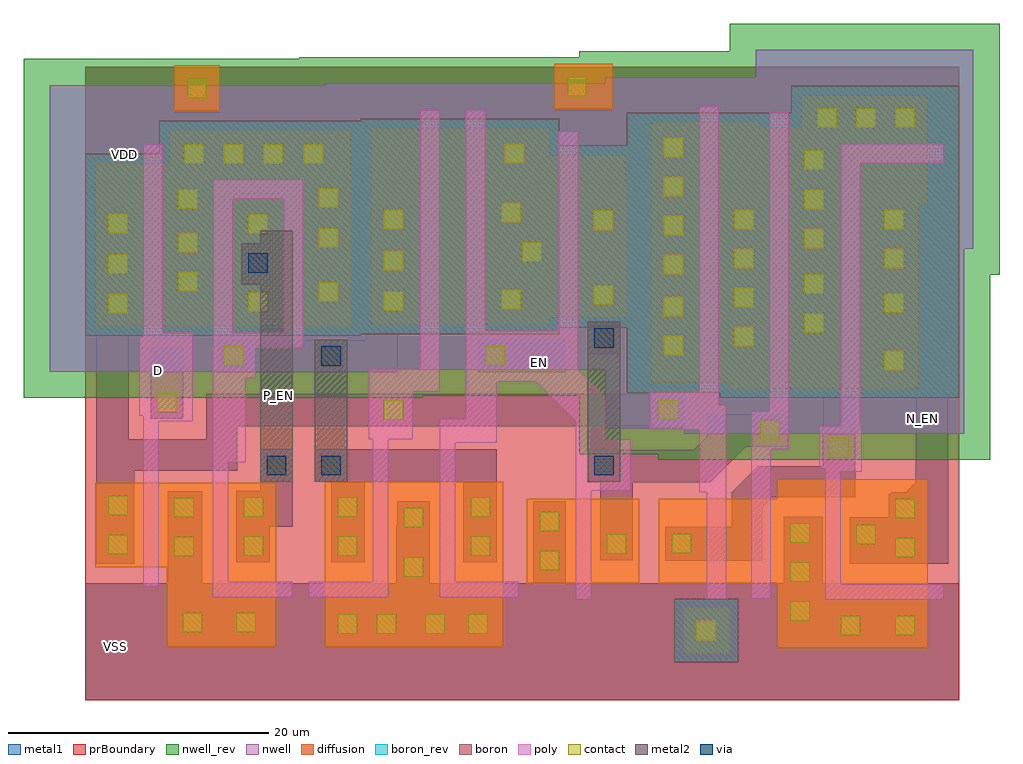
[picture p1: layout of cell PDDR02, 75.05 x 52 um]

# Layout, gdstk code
import gdstk
lib = gdstk.Library(unit=1e-6, precision=1e-09)
def R(c, l, rs):  # rectangles x0, y0, x1, y1
    for r in rs: c.add(gdstk.rectangle(r[:2], r[2:], *l))
def A(c, l, x, y, w, h, nx, ny, dx, dy):  # array of equal rectangles
    R(c, l, [(x+i*dx, y+j*dy, x+i*dx+w, y+j*dy+h) for i in range(nx) for j in range(ny)])
def P(c, l, *ps):  # polygons
    for p in ps: c.add(gdstk.Polygon(p, *l))
nwell = (1, 0)
diffusion = (2, 0)
nwell_rev = (3, 0)
poly = (4, 0)
boron = (5, 0)
boron_rev = (6, 0)
contact = (7, 0)
metal1 = (8, 0)
via = (9, 0)
metal2 = (10, 0)
prBoundary = (28, 0)

pddr02 = lib.new_cell('PDDR02')
P(pddr02, nwell, [(46.05,20.5),(46.05,20.9),(40,20.9),(40,25.4),(23.95,25.4),(23.95,25.25),(-2.75,25.25),(-2.75,47.3),(18.45,47.3),(18.45,47.45),(40,47.45),(40,47.9),(51.55,47.9),(51.55,50),(68.3,50),(68.3,34.7),(67.6,34.7),(67.6,20.5)])
R(pddr02, diffusion, [(46,3.6,49.5,7.1), (18.4,4.1,32.15,16.8), (33.95,9,42.6,15.5), (6.85,45.3,10.35,48.8), (36.05,45.45,40.55,48.95)])
P(pddr02, diffusion, [(6.25,4.1),(6.25,10.2),(0.75,10.2),(0.75,16.7),(14.7,16.7),(14.7,4.1)],
  [(53.2,4),(53.2,9),(44.1,9),(44.1,15.5),(53.2,15.5),(53.2,17),(64.8,17),(64.8,4)],
  [(21.95,28.9),(21.95,43.95),(35.7,43.95),(35.7,41.9),(41.6,41.9),(41.6,29.4),(35.7,29.4),(35.7,28.9)],
  [(0.75,28.75),(0.75,41.25),(6.45,41.25),(6.45,43.8),(20.45,43.8),(20.45,28.75)],
  [(49.55,24),(49.55,24.4),(43.5,24.4),(43.5,44.4),(51.9,44.4),(51.9,44),(55.05,44),(55.05,46.5),(64.8,46.5),(64.8,38.2),(64.1,38.2),(64.1,24)])
P(pddr02, nwell_rev, [(44.05,18.5),(44.05,18.9),(38,18.9),(38,23.4),(25.95,23.4),(25.95,23.25),(-4.75,23.25),(-4.75,49.3),(16.45,49.3),(16.45,49.45),(38,49.45),(38,49.9),(49.55,49.9),(49.55,52),(70.3,52),(70.3,32.7),(69.6,32.7),(69.6,18.5)])
P(pddr02, poly, [(51.2,7.8),(51.2,22.2),(52.6,22.2),(52.6,45.2),(54.1,45.2),(54.1,19.3),(52.7,19.3),(52.7,7.8)],
  [(4.45,8.7),(4.45,21.85),(4.15,21.85),(4.15,27.95),(4.45,27.95),(4.45,42.75),(5.95,42.75),(5.95,28.25),(8.25,28.25),(8.25,21.45),(5.65,21.45),(5.65,8.7)],
  [(9.8,7.9),(9.8,27),(9.85,27),(9.85,40.05),(15.25,40.05),(15.25,38.55),(11.35,38.55),(11.35,28.25),(15.25,28.25),(15.25,40.05),(16.75,40.05),(16.75,27.05),(13.1,27.05),(13.1,24.75),(12.35,24.75),(12.35,18.3),(11,18.3),(11,9.1),(15.9,9.1),(15.9,7.9)],
  [(17.2,7.9),(17.2,9.1),(22.1,9.1),(22.1,20.05),(21.8,20.05),(21.8,25.5),(25.75,25.5),(25.75,45.35),(27.25,45.35),(27.25,23.7),(25.2,23.7),(25.2,20.05),(23.3,20.05),(23.3,7.9)],
  [(37.7,7.7),(37.7,21.451),(34.651,24.5),(31.65,24.5),(31.65,19.8),(28.45,19.8),(28.45,9.1),(33.35,9.1),(33.35,7.9),(27.25,7.9),(27.25,21.65),(29.25,21.65),(29.25,45.4),(30.75,45.4),(30.75,28.4),(36.4,28.4),(36.4,43.75),(37.9,43.75),(37.9,25.45),(40,23.35),(40,20.05),(41.95,20.05),(41.95,16.1),(38.9,16.1),(38.9,7.7)],
  [(47.8,7.8),(47.8,16),(47.2,16),(47.2,20.8),(43.4,20.8),(43.4,23.75),(47.2,23.75),(47.2,45.65),(48.7,45.65),(48.7,22.7),(49.3,22.7),(49.3,7.8)],
  [(56.9,7.7),(56.9,17.8),(56.45,17.8),(56.45,21.05),(58.1,21.05),(58.1,42.8),(66,42.8),(66,41.3),(59.6,41.3),(59.6,21.05),(59.7,21.05),(59.7,17.55),(58.1,17.55),(58.1,8.9),(66,8.9),(66,7.7)])
R(pddr02, boron, [(45.3,2.9,50.2,7.8)])
P(pddr02, boron, [(48.8,23.25),(48.8,23.65),(41.65,23.65),(41.65,28.65),(36.45,28.65),(36.45,28.15),(21.2,28.15),(21.2,28),(0,28),(0,42),(5.7,42),(5.7,44.55),(21.2,44.55),(21.2,44.7),(36.45,44.7),(36.45,42.65),(41.65,42.65),(41.65,45.15),(54.3,45.15),(54.3,47.25),(67.2,47.25),(67.2,23.25)])
R(pddr02, boron_rev, [(45.3,2.9,50.2,7.8)])
P(pddr02, boron_rev, [(48.8,23.25),(48.8,23.65),(41.65,23.65),(41.65,28.65),(36.45,28.65),(36.45,28.15),(21.2,28.15),(21.2,28),(0,28),(0,42),(5.7,42),(5.7,44.55),(21.2,44.55),(21.2,44.7),(36.45,44.7),(36.45,42.65),(41.65,42.65),(41.65,45.15),(54.3,45.15),(54.3,47.25),(67.2,47.25),(67.2,23.25)])
A(pddr02, contact, 54.2, 6.1, 1.5, 1.5, 1, 3, 0, 3)
A(pddr02, contact, 49.9, 27.2, 1.5, 1.5, 1, 4, 0, 3)
A(pddr02, contact, 44.5, 32.75, 1.5, 1.5, 1, 4, 0, 3)
A(pddr02, contact, 7.6, 41.25, 1.5, 1.5, 3, 1, 3.05, 0)
A(pddr02, contact, 56.3, 44, 1.5, 1.5, 3, 1, 3, 0)
R(pddr02, contact, [(47,4.6,48.5,6.1), (58.1,5,59.6,6.5), (62.3,5,63.8,6.5), (19.4,5.1,20.9,6.6), (22.4,5.1,23.9,6.6), (26.15,5.1,27.65,6.6), (29.45,5.1,30.95,6.6), (7.5,5.2,9,6.7), (11.6,5.2,13.1,6.7), (24.5,9.5,26,11), (34.95,10,36.45,11.5), (62.3,11,63.8,12.5), (6.85,11.05,8.35,12.55), (12.2,11.1,13.7,12.6), (19.4,11.1,20.9,12.6), (29.65,11.1,31.15,12.6), (1.75,11.2,3.25,12.7), (40.1,11.25,41.6,12.75), (45.1,11.3,46.6,12.8), (59.3,12,60.8,13.5), (34.95,13,36.45,14.5), (24.5,13.3,26,14.8), (62.3,14,63.8,15.5), (6.85,14.05,8.35,15.55), (12.2,14.1,13.7,15.6), (19.4,14.1,20.9,15.6), (29.65,14.1,31.15,15.6), (1.75,14.2,3.25,15.7), (57.2,18.65,58.7,20.15), (51.9,20,53.4,21.5), (22.95,21.55,24.45,23.05), (44.1,21.55,45.6,23.05), (5.55,22.15,7.05,23.65), (61.45,25.35,62.95,26.85), (10.65,25.7,12.15,27.2), (30.75,25.7,32.25,27.2), (44.5,26.5,46,28), (55.3,28.25,56.8,29.75), (44.5,29.5,46,31), (1.75,29.75,3.25,31.25), (61.45,29.8,62.95,31.3), (12.55,29.85,14.05,31.35), (22.95,29.95,24.45,31.45), (32,30.05,33.5,31.55), (39.1,30.4,40.6,31.9), (17.95,30.65,19.45,32.15), (55.3,31.25,56.8,32.75), (7.15,31.45,8.65,32.95), (1.75,32.8,3.25,34.3), (22.95,33.05,24.45,34.55), (61.45,33.2,62.95,34.7), (33.6,33.7,35.1,35.2), (7.15,34.45,8.65,35.95), (55.3,34.75,56.8,36.25), (17.95,34.8,19.45,36.3), (12.55,35.85,14.05,37.35), (1.75,35.9,3.25,37.4), (39.1,36.15,40.6,37.65), (22.95,36.2,24.45,37.7), (61.45,36.2,62.95,37.7), (32,36.75,33.5,38.25), (55.3,37.75,56.8,39.25), (7.15,37.8,8.65,39.3), (17.95,37.85,19.45,39.35), (55.3,40.8,56.8,42.3), (16.8,41.25,18.3,42.75), (32.25,41.3,33.75,42.8), (7.85,46.3,9.35,47.8), (37.05,46.45,38.55,47.95)])
R(pddr02, metal1, [(0,0,67.2,9), (13.45,13.35,15.95,19.3), (63.85,21,66.35,23.5), (5.05,21.65,7.55,27.15), (60.95,24.85,63.45,27.35), (30.25,25.2,36.95,27.7), (11.55,29.3,15.55,37.95), (0,39.7,67.2,48.7), (7.05,45.5,10.15,48.6)])
P(pddr02, metal1, [(58.8,10.5),(58.8,14.05),(61.8,14.05),(61.8,15.8),(62,16),(63.1,16),(63.85,16.75),(63.85,24.85),(60.95,24.85),(60.95,38.2),(63.6,38.2),(63.6,28.2),(66.35,28.2),(66.35,10.5)],
  [(11.6,10.6),(11.6,16.1),(14.55,16.1),(14.55,13.6),(14.2,13.6),(14.2,10.6)],
  [(10.15,25.2),(10.15,27.7),(21.55,27.7),(21.55,31.9),(22.45,31.9),(22.45,38.2),(24.95,38.2),(24.95,29.45),(24.05,29.45),(24.05,25.2)],
  [(18.9,10.6),(18.9,16.8),(17.65,16.8),(17.65,19.3),(31.65,19.3),(31.65,10.6),(29.05,10.6),(29.05,16.8),(21.5,16.8),(21.5,10.6)],
  [(38.65,26.6),(38.65,29.9),(38.6,29.9),(38.6,38.15),(41.1,38.15),(41.1,30),(41.15,30),(41.15,26.6)],
  [(0.85,10.5),(0.85,37.9),(3.75,37.9),(3.75,28.7),(3.35,28.7),(3.35,20.05),(9.3,20.05),(9.3,23.55),(46.1,23.55),(46.1,21.05),(11.7,21.05),(11.7,17.65),(3.75,17.65),(3.75,10.5)],
  [(39.6,10.75),(39.6,16.75),(38.65,16.75),(38.65,19.3),(41.15,19.3),(41.15,19.25),(46.8,19.25),(47.8,20.25),(47.8,22),(54.1,22),(54.1,19.5),(50.8,19.5),(48.05,16.75),(42.1,16.75),(42.1,10.75)],
  [(44.6,10.7),(44.6,13.35),(49.7,13.35),(49.7,16),(51.7,18),(56.7,18),(56.7,23.55),(52.6,23.55),(49.4,26.75),(49.4,38.2),(52.15,38.2),(52.15,27.951),(54.151,25.95),(59.2,25.95),(59.2,15.6),(52.8,15.6),(52.1,14.9),(52.1,10.7)],
  [(0,0),(0,9),(6.35,9),(6.35,16.05),(9,16.05),(9,9),(23.9,9),(23.9,13.45),(24,13.45),(24,15.3),(26.5,15.3),(26.5,9),(34.45,9),(34.45,15.3),(36.95,15.3),(36.95,9),(53.7,9),(53.7,14.1),(56.7,14.1),(56.7,9),(67.2,9),(67.2,0)],
  [(44,25.85),(44,39.7),(34,39.7),(34,35.75),(35.6,35.75),(35.6,32.55),(34,32.55),(34,29.55),(31.5,29.55),(31.5,39.7),(19.95,39.7),(19.95,30.15),(17.45,30.15),(17.45,39.7),(9.15,39.7),(9.15,30.35),(6.65,30.35),(6.65,39.7),(0,39.7),(0,48.7),(67.2,48.7),(67.2,39.7),(57.55,39.7),(57.55,27.5),(54.8,27.5),(54.8,39.7),(46.7,39.7),(46.7,25.85)])
R(pddr02, via, [(13.95,17.3,15.45,18.8), (18.15,17.3,19.65,18.8), (39.15,17.3,40.65,18.8), (18.15,25.7,19.65,27.2), (39.15,27.1,40.65,28.6), (12.55,32.85,14.05,34.35)])
R(pddr02, metal2, [(17.65,16.8,20.15,27.7), (38.65,16.8,41.15,29.1)])
P(pddr02, metal2, [(13.45,16.8),(13.45,31.95),(12,31.95),(12,35.15),(13.45,35.15),(13.45,36.1),(15.95,36.1),(15.95,16.8)])
R(pddr02, prBoundary, [(0,0,67.2,48.7)])
pddr02.add(gdstk.Label('VDD', (3.024,41.991), layer=8, texttype=7))
pddr02.add(gdstk.Label('VSS', (2.339,4.108), layer=8, texttype=7))
pddr02.add(gdstk.Label('D', (5.644,25.308), layer=8, texttype=7))
pddr02.add(gdstk.Label('N_EN', (64.413,21.623), layer=8, texttype=7))
pddr02.add(gdstk.Label('EN', (34.917,25.959), layer=8, texttype=7))
pddr02.add(gdstk.Label('P_EN', (14.88,23.46), layer=10, texttype=7))

lib.write_gds('PDDR02.gds')
